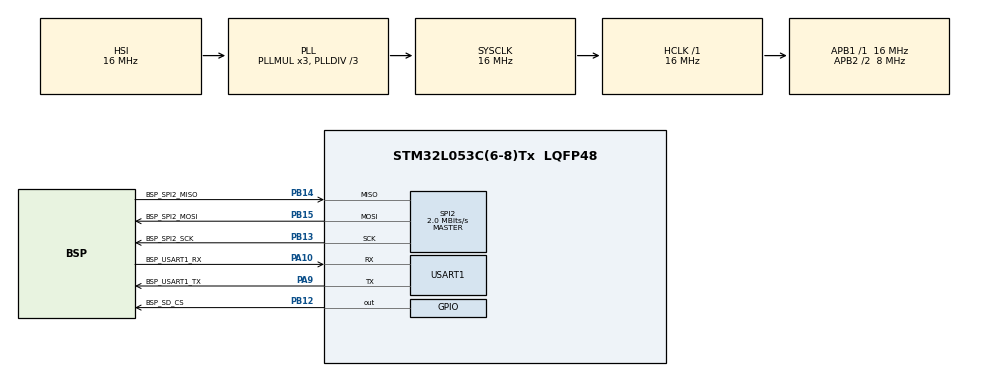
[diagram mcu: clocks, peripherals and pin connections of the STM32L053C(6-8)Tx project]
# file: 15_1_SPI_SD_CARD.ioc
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FATFS._MAX_SS=512
Mcu.Family=STM32L0
Mcu.Name=STM32L053C(6-8)Tx
Mcu.Package=LQFP48
PA10.GPIO_Label=BSP_USART1_RX
PA10.Mode=Asynchronous
PA10.Signal=USART1_RX
PA9.GPIO_Label=BSP_USART1_TX
PA9.Mode=Asynchronous
PA9.Signal=USART1_TX
PB12.GPIO_Label=BSP_SD_CS
PB12.Signal=GPIO_Output
PB13.GPIO_Label=BSP_SPI2_SCK
PB13.Mode=Full_Duplex_Master
PB13.Signal=SPI2_SCK
PB14.GPIO_Label=BSP_SPI2_MISO
PB14.Mode=Full_Duplex_Master
PB14.Signal=SPI2_MISO
PB15.GPIO_Label=BSP_SPI2_MOSI
PB15.Mode=Full_Duplex_Master
PB15.Signal=SPI2_MOSI
PH0-OSC_IN.Mode=HSE-External-Oscillator
PH0-OSC_IN.Signal=RCC_OSC_IN
PH1-OSC_OUT.Mode=HSE-External-Oscillator
PH1-OSC_OUT.Signal=RCC_OSC_OUT
ProjectManager.HeapSize=0x200
ProjectManager.StackSize=0x400
ProjectManager.TargetToolchain=STM32CubeIDE
RCC.AHBFreq_Value=16000000
RCC.APB1Freq_Value=16000000
RCC.APB1TimFreq_Value=16000000
RCC.APB2CLKDivider=RCC_HCLK_DIV2
RCC.APB2Freq_Value=8000000
RCC.APB2TimFreq_Value=16000000
RCC.HCLKFreq_Value=16000000
RCC.HSE_VALUE=8000000
RCC.HSI16_VALUE=16000000
RCC.HSI48MClockSelection=RCC_USBCLKSOURCE_HSI48
RCC.HSI48_VALUE=48000000
RCC.HSI_VALUE=16000000
RCC.LSE_VALUE=32768
RCC.MSI_VALUE=2097000
RCC.PLLDIV=RCC_PLLDIV_3
RCC.RCC_RTC_Clock_Source_FROM_HSE=RCC_RTCCLKSOURCE_HSE_DIV8
RCC.RTCClockSelection=RCC_RTCCLKSOURCE_LSI
RCC.RTCClockSelectionVirtual=RCC_RTCCLKSOURCE_LSE
RCC.SYSCLKFreq_VALUE=16000000
RCC.SYSCLKSource=RCC_SYSCLKSOURCE_PLLCLK
RCC.VCOOutputFreq_Value=48000000
RTC.Date=10
RTC.Month=RTC_MONTH_APRIL
RTC.WeekDay=RTC_WEEKDAY_WEDNESDAY
RTC.Year=24
SPI2.BaudRatePrescaler=SPI_BAUDRATEPRESCALER_8
SPI2.CalculateBaudRate=2.0 MBits/s
SPI2.Direction=SPI_DIRECTION_2LINES
SPI2.Mode=SPI_MODE_MASTER
SPI2.VirtualType=VM_MASTER
USART1.VirtualMode-Asynchronous=VM_ASYNC
VP_FATFS_VS_Generic.Mode=User_defined
VP_RTC_VS_RTC_Activate.Mode=RTC_Enabled
VP_RTC_VS_RTC_Calendar.Mode=RTC_Calendar
board=STM32L0538-DISCO

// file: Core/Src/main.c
/* USER CODE BEGIN Header */
/**
  ******************************************************************************
  * @file           : main.c
  * @brief          : Main program body
  ******************************************************************************
  * @attention
  *
  * Copyright (c) 2024 STMicroelectronics.
  * All rights reserved.
  *
  * This software is licensed under terms that can be found in the LICENSE file
  * in the root directory of this software component.
  * If no LICENSE file comes with this software, it is provided AS-IS.
  *
  ******************************************************************************
  */
/* USER CODE END Header */
#include "main.h"
#include "fatfs.h"

/* USER CODE BEGIN Includes */
#include "fatfs_sd.h"
#include <string.h>
#include<stdio.h>
/* USER CODE END Includes */

RTC_HandleTypeDef hrtc;

SPI_HandleTypeDef hspi2;

UART_HandleTypeDef huart1;

void SystemClock_Config(void);
static void MX_GPIO_Init(void);
static void MX_SPI2_Init(void);
static void MX_USART1_UART_Init(void);
static void MX_RTC_Init(void);

/* USER CODE BEGIN 0 */

FATFS fs; 		// file system
FIL fil;		// file
FRESULT fresult;	// to store the result
char buffer[1024];	// to store data

UINT br, bw;		// file read/write data

/* capacity related variables */

FATFS *pfs;
DWORD fre_clust;
uint32_t  total, free_space;

/* to send the data to uart */

void send_uart(char *string)
{
	uint8_t len = strlen(string);
	HAL_UART_Transmit(&huart1,(uint8_t *)string, len, 2000);	// transmit in blocking mode
}

/* to find the size of the data in the buffer */
int bufsize(char *buf)
{
	int i =0;
	while (*buf++ != '\0') i++;
	return i;

}

void bufclear(void)		// clear buffer
{
	for (int i = 0; i < 1024; i++){
		buffer[i] = '\0';
	}
}
/* USER CODE END 0 */

int main(void)
{

  /* MCU Configuration--------------------------------------------------------*/

  /* Reset of all peripherals, Initializes the Flash interface and the Systick. */
  HAL_Init();

  /* Configure the system clock */
  SystemClock_Config();

  /* Initialize all configured peripherals */
  MX_GPIO_Init();
  MX_SPI2_Init();
  MX_USART1_UART_Init();
  MX_FATFS_Init();
  MX_RTC_Init();
  /* USER CODE BEGIN 2 */

  //Mount sd card

    fresult = f_mount(&fs, "/", 1);
    if (fresult != FR_OK)
  	   send_uart ("ERROR!!! in mounting SD CARD...\n\n");
    else send_uart("SD CARD mounted successfully...\n\n");

    /******************* Card capacity details **********************/

        	/* Check free space */

        	f_getfree("", &fre_clust, &pfs);

        	total = (uint32_t)((pfs->n_fatent - 2) * pfs->csize * 0.5);
        	sprintf (buffer, "SD CARD Total Size: \t%lu\n",total);
        	send_uart(buffer);
        	bufclear();

        	free_space = (uint32_t)(fre_clust * pfs->csize * 0.5);
        	sprintf (buffer, "SD CARD Free Space: \t%lu\n\n",free_space);
        	send_uart(buffer);
        	bufclear();

        	/* Get current date from RTC */
        	RTC_DateTypeDef date;
            HAL_RTC_GetDate(&hrtc, &date, RTC_FORMAT_BIN);

//            /* Create folder if it doesn't exist */
//
//            char foldername[9]; // Format: MMDDYYYY
//            sprintf(foldername, "%02d%02d%04d", date.Date, date.Month, date.Year);
//            send_uart(foldername);
//            if (f_mkdir(foldername) == FR_OK) {
//            	strcpy(buffer, "Folder created\n");
//            	send_uart(buffer);
//
//            }
//            else {
//                strcpy(buffer, "Folder already created\n");
//                send_uart(buffer);
//            }
//
//            /* Format date string for file name (assuming format DDMMYYYY) */
//            char filename[20];
//            sprintf(filename, "%02d%02d%02d.txt", date.Date, date.Month, date.Year);
//
//            /* Open file with dynamic date name for writing */
//            f_open(&fil, "/10040024/filename", FA_CREATE_ALWAYS | FA_WRITE);
//            if (fresult == FR_OK) {
//                strcpy(buffer, "File created successfully\n");
//                send_uart(buffer);
//
//                /* Write data to file using SPI communication */
//                strcpy(buffer, "This is a test file\n");
//                f_write(&fil, buffer, strlen(buffer), &bw);
//                send_uart(buffer);
//
//                /* Close file */
//                f_close(&fil);
//            } else {
//                strcpy(buffer, "Error creating file\n");
//                send_uart(buffer);
//            }
//
//
//
////        	/* Format date string for file name (assuming format DDMMYYYY) */
////            char filename[20];
////       	    sprintf(filename, "%02d%02d%02d.txt", date.Date, date.Month, date.Year);
////       	    send_uart(filename);
//
//       	    /* Open file with dynamic date name for writing */
//       	    f_open(&fil, "/filename", FA_CREATE_ALWAYS | FA_WRITE);
//
//       	    /* Write data to file using SPI communication */
//
//       	    strcpy (buffer, "This is ddmmyy.txt file \n");
//
//       	    f_write(&fil, buffer, bufsize(buffer), &bw);
//
//       	    send_uart(buffer);
//
//       	    /* Close file */
//       	    f_close(&fil);
//
//       	 /* open the file to read */
//       	    f_open(&fil, filename, FA_READ);
//
//       	    /* Read the string from the file */
//       	    f_read(&fil, buffer, sizeof(buffer), &br);
//       	    send_uart(buffer);
//
//       	         	 /* close file */
//       	    f_close(&fil);

//
//     /**************** the following operation is using PUTS and GETS  ******************/
//
        	/* open a file to write/ create a file if it does not exist */
        	fresult = f_open(&fil, "file.txt", FA_OPEN_ALWAYS | FA_READ | FA_WRITE);

        	if(fresult == FR_OK)
        	{
        		send_uart("file created created\n");
        	}
        	/* TO WRITE IN FILE */
        	fresult = f_puts("This is from the first file \n", &fil);

        	send_uart("file.txt is created and text is written \n");

        	/* to close file */
        	fresult = f_close(&fil);

        	/* open file to read */
        	fresult = f_open(&fil, "file.txt", FA_READ);

        	/* READ string from the file */
        	f_gets(buffer, sizeof(buffer), &fil);

        	send_uart(buffer);

        	f_close(&fil);

        	bufclear();

      /**************** The following operation is using f_write and f_read *********************/

        	 /* Create second file with read write access and open it */
        	 fresult = f_open(&fil, "file2.txt", FA_CREATE_ALWAYS | FA_WRITE | FA_READ);

       	  	/* Writing text */
        	 strcpy (buffer, "This is File2.txt, written using ...f_write... and it says Hello \n");

        	 fresult = f_write(&fil, buffer, bufsize(buffer), &bw);

        	 send_uart ("File2.txt created and data is written\n");

       	  	/* Close file */
        	 f_close(&fil);

        	 bufclear();

        	 /* open second file to read */
        	 fresult =f_open(&fil, "file2.txt", FA_READ);

        	 /* READ data from the file */

        	 f_read(&fil, buffer, sizeof(buffer), &br);
        	 send_uart(buffer);

        	 f_close(&fil);

        	 bufclear();

//
//       /*********************** UPDATING an existing file ****************************/
//
//
//        	 /* open the file with write access */
//        	 fresult =f_open(&fil, "file2.txt", FA_OPEN_ALWAYS | FA_WRITE);
//
//        	 /* move to offset to the end of the file */
//        	 fresult = f_lseek(&fil, sizeof(buffer));
//
//        	 /* write the string to the file */
//        	 fresult = f_puts("This is updated data and it should be at the end \n", &fil);
//
//        	 f_close(&fil);
//
//        	 /* open the file to read */
//        	 fresult = f_open(&fil, "file2.txt", FA_READ);
//
//        	 /* Read the string from the file */
//        	 f_read(&fil, buffer, sizeof(buffer), &br);
//        	 send_uart(buffer);
//
//        	 /* close file */
//        	 f_close(&fil);
//
//        	 bufclear();

//       /*********************** REMOVING A file from directory  *************************/
//
//
//        	 fresult = f_unlink("/file.txt");
//        	 if(fresult == FR_OK) send_uart("file.txt removed successfully \n");
////
//        	 fresult = f_unlink("/file2.txt");
//        	 if(fresult == FR_OK) send_uart("file2.txt removed successfully \n");
//
////        	 fresult = f_unlink("/file3.txt");
////        	 if(fresult == F R_OK) send_uart("file3.txt removed successfully \n");
//
//        	 /* unmount SD Card */
//        	 fresult = f_mount(NULL, "", 1);
//        	 if(fresult == FR_OK) send_uart("SD card unmounted successfully \n");

  /* USER CODE END 2 */

  /* Infinite loop */
   while (1)
  {

  }
}

void SystemClock_Config(void)
{
  RCC_OscInitTypeDef RCC_OscInitStruct = {0};
  RCC_ClkInitTypeDef RCC_ClkInitStruct = {0};
  RCC_PeriphCLKInitTypeDef PeriphClkInit = {0};

  /** Configure the main internal regulator output voltage
  */
  __HAL_PWR_VOLTAGESCALING_CONFIG(PWR_REGULATOR_VOLTAGE_SCALE1);

  /** Initializes the RCC Oscillators according to the specified parameters
  * in the RCC_OscInitTypeDef structure.
  */
  RCC_OscInitStruct.OscillatorType = RCC_OSCILLATORTYPE_HSI|RCC_OSCILLATORTYPE_LSI;
  RCC_OscInitStruct.HSIState = RCC_HSI_ON;
  RCC_OscInitStruct.HSICalibrationValue = RCC_HSICALIBRATION_DEFAULT;
  RCC_OscInitStruct.LSIState = RCC_LSI_ON;
  RCC_OscInitStruct.PLL.PLLState = RCC_PLL_ON;
  RCC_OscInitStruct.PLL.PLLSource = RCC_PLLSOURCE_HSI;
  RCC_OscInitStruct.PLL.PLLMUL = RCC_PLLMUL_3;
  RCC_OscInitStruct.PLL.PLLDIV = RCC_PLLDIV_3;
  if (HAL_RCC_OscConfig(&RCC_OscInitStruct) != HAL_OK)
  {
    Error_Handler();
  }

  /** Initializes the CPU, AHB and APB buses clocks
  */
  RCC_ClkInitStruct.ClockType = RCC_CLOCKTYPE_HCLK|RCC_CLOCKTYPE_SYSCLK
                              |RCC_CLOCKTYPE_PCLK1|RCC_CLOCKTYPE_PCLK2;
  RCC_ClkInitStruct.SYSCLKSource = RCC_SYSCLKSOURCE_PLLCLK;
  RCC_ClkInitStruct.AHBCLKDivider = RCC_SYSCLK_DIV1;
  RCC_ClkInitStruct.APB1CLKDivider = RCC_HCLK_DIV1;
  RCC_ClkInitStruct.APB2CLKDivider = RCC_HCLK_DIV2;

  if (HAL_RCC_ClockConfig(&RCC_ClkInitStruct, FLASH_LATENCY_0) != HAL_OK)
  {
    Error_Handler();
  }
  PeriphClkInit.PeriphClockSelection = RCC_PERIPHCLK_USART1|RCC_PERIPHCLK_RTC;
  PeriphClkInit.Usart1ClockSelection = RCC_USART1CLKSOURCE_PCLK2;
  PeriphClkInit.RTCClockSelection = RCC_RTCCLKSOURCE_LSI;
  if (HAL_RCCEx_PeriphCLKConfig(&PeriphClkInit) != HAL_OK)
  {
    Error_Handler();
  }
}

static void MX_RTC_Init(void)
{

  RTC_TimeTypeDef sTime = {0};
  RTC_DateTypeDef sDate = {0};

  /** Initialize RTC Only
  */
  hrtc.Instance = RTC;
  hrtc.Init.HourFormat = RTC_HOURFORMAT_24;
  hrtc.Init.AsynchPrediv = 127;
  hrtc.Init.SynchPrediv = 255;
  hrtc.Init.OutPut = RTC_OUTPUT_DISABLE;
  hrtc.Init.OutPutRemap = RTC_OUTPUT_REMAP_NONE;
  hrtc.Init.OutPutPolarity = RTC_OUTPUT_POLARITY_HIGH;
  hrtc.Init.OutPutType = RTC_OUTPUT_TYPE_OPENDRAIN;
  if (HAL_RTC_Init(&hrtc) != HAL_OK)
  {
    Error_Handler();
  }

  /** Initialize RTC and set the Time and Date
  */
  sTime.Hours = 0x0;
  sTime.Minutes = 0x0;
  sTime.Seconds = 0x0;
  sTime.DayLightSaving = RTC_DAYLIGHTSAVING_NONE;
  sTime.StoreOperation = RTC_STOREOPERATION_RESET;
  if (HAL_RTC_SetTime(&hrtc, &sTime, RTC_FORMAT_BCD) != HAL_OK)
  {
    Error_Handler();
  }
  sDate.WeekDay = RTC_WEEKDAY_WEDNESDAY;
  sDate.Month = RTC_MONTH_APRIL;
  sDate.Date = 0x10;
  sDate.Year = 0x24;

  if (HAL_RTC_SetDate(&hrtc, &sDate, RTC_FORMAT_BCD) != HAL_OK)
  {
    Error_Handler();
  }

}

static void MX_SPI2_Init(void)
{

  /* SPI2 parameter configuration*/
  hspi2.Instance = SPI2;
  hspi2.Init.Mode = SPI_MODE_MASTER;
  hspi2.Init.Direction = SPI_DIRECTION_2LINES;
  hspi2.Init.DataSize = SPI_DATASIZE_8BIT;
  hspi2.Init.CLKPolarity = SPI_POLARITY_LOW;
  hspi2.Init.CLKPhase = SPI_PHASE_1EDGE;
  hspi2.Init.NSS = SPI_NSS_SOFT;
  hspi2.Init.BaudRatePrescaler = SPI_BAUDRATEPRESCALER_8;
  hspi2.Init.FirstBit = SPI_FIRSTBIT_MSB;
  hspi2.Init.TIMode = SPI_TIMODE_DISABLE;
  hspi2.Init.CRCCalculation = SPI_CRCCALCULATION_DISABLE;
  hspi2.Init.CRCPolynomial = 7;
  if (HAL_SPI_Init(&hspi2) != HAL_OK)
  {
    Error_Handler();
  }

}

static void MX_USART1_UART_Init(void)
{

  huart1.Instance = USART1;
  huart1.Init.BaudRate = 115200;
  huart1.Init.WordLength = UART_WORDLENGTH_8B;
  huart1.Init.StopBits = UART_STOPBITS_1;
  huart1.Init.Parity = UART_PARITY_NONE;
  huart1.Init.Mode = UART_MODE_TX_RX;
  huart1.Init.HwFlowCtl = UART_HWCONTROL_NONE;
  huart1.Init.OverSampling = UART_OVERSAMPLING_16;
  huart1.Init.OneBitSampling = UART_ONE_BIT_SAMPLE_DISABLE;
  huart1.AdvancedInit.AdvFeatureInit = UART_ADVFEATURE_NO_INIT;
  if (HAL_UART_Init(&huart1) != HAL_OK)
  {
    Error_Handler();
  }

}

static void MX_GPIO_Init(void)
{
  GPIO_InitTypeDef GPIO_InitStruct = {0};

  /* GPIO Ports Clock Enable */
  __HAL_RCC_GPIOH_CLK_ENABLE();
  __HAL_RCC_GPIOB_CLK_ENABLE();
  __HAL_RCC_GPIOA_CLK_ENABLE();

  /*Configure GPIO pin Output Level */
  HAL_GPIO_WritePin(BSP_SD_CS_GPIO_Port, BSP_SD_CS_Pin, GPIO_PIN_RESET);

  /*Configure GPIO pin : BSP_SD_CS_Pin */
  GPIO_InitStruct.Pin = BSP_SD_CS_Pin;
  GPIO_InitStruct.Mode = GPIO_MODE_OUTPUT_PP;
  GPIO_InitStruct.Pull = GPIO_NOPULL;
  GPIO_InitStruct.Speed = GPIO_SPEED_FREQ_LOW;
  HAL_GPIO_Init(BSP_SD_CS_GPIO_Port, &GPIO_InitStruct);

}

void Error_Handler(void)
{
  __disable_irq();
  while (1)
  {
  }
}
